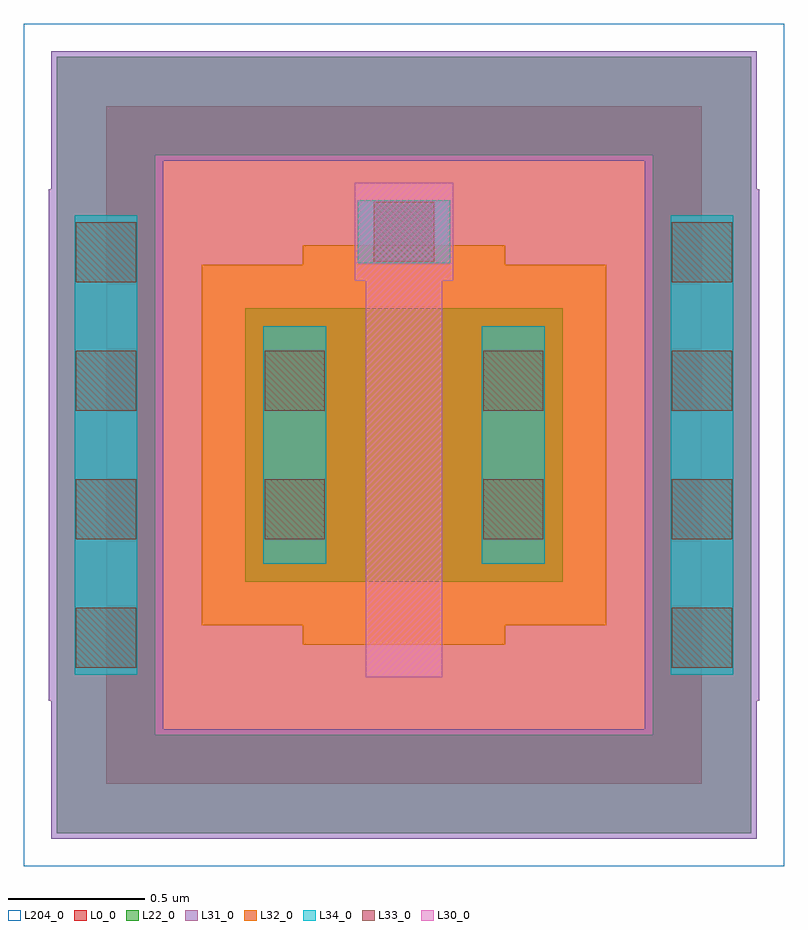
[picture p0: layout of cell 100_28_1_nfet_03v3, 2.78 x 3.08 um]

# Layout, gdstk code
import gdstk
lib = gdstk.Library(unit=1e-6, precision=1e-09)
def R(c, l, rs):  # rectangles x0, y0, x1, y1
    for r in rs: c.add(gdstk.rectangle(r[:2], r[2:], *l))
def A(c, l, x, y, w, h, nx, ny, dx, dy):  # array of equal rectangles
    R(c, l, [(x+i*dx, y+j*dy, x+i*dx+w, y+j*dy+h) for i in range(nx) for j in range(ny)])
L0_0 = (0, 0)
L22_0 = (22, 0)
L30_0 = (30, 0)
L31_0 = (31, 0)
L32_0 = (32, 0)
L33_0 = (33, 0)
L34_0 = (34, 0)
L204_0 = (204, 0)

c_100_28_1_nfet_03v3 = lib.new_cell('100_28_1_nfet_03v3')
R(c_100_28_1_nfet_03v3, L0_0, [(-1.09,-1.24,1.09,1.24)])
R(c_100_28_1_nfet_03v3, L22_0, [(-1.27,-1.42,1.27,-1.06), (-1.27,-1.06,-0.91,1.06), (0.91,-1.06,1.27,1.06), (-0.58,-0.5,0.58,0.5), (-1.27,1.06,1.27,1.42)])
R(c_100_28_1_nfet_03v3, L30_0, [(-0.14,-0.85,0.14,0.6), (-0.18,0.6,0.18,0.96)])
R(c_100_28_1_nfet_03v3, L31_0, [(-1.29,-1.44,1.29,-1.04), (-1.29,-1.04,-0.88,-0.935), (0.88,-1.04,1.29,-0.935), (-1.3,-0.935,-0.88,0.935), (0.88,-0.935,1.3,0.935), (-1.29,0.935,-0.88,1.04), (0.88,0.935,1.29,1.04), (-1.29,1.04,1.29,1.44)])
R(c_100_28_1_nfet_03v3, L32_0, [(-0.37,-0.73,0.37,-0.66), (-0.74,-0.66,0.74,0.66), (-0.37,0.66,0.37,0.73)])
A(c_100_28_1_nfet_03v3, L33_0, -1.2, -0.815, 0.22, 0.22, 1, 4, 0, 0.47)
A(c_100_28_1_nfet_03v3, L33_0, 0.98, -0.815, 0.22, 0.22, 1, 4, 0, 0.47)
R(c_100_28_1_nfet_03v3, L33_0, [(-0.51,-0.345,-0.29,-0.125), (0.29,-0.345,0.51,-0.125), (-0.51,0.125,-0.29,0.345), (0.29,0.125,0.51,0.345), (-0.11,0.67,0.11,0.89)])
R(c_100_28_1_nfet_03v3, L34_0, [(-1.205,-0.84,-0.975,0.84), (0.975,-0.84,1.205,0.84), (-0.515,-0.435,-0.285,0.435), (0.285,-0.435,0.515,0.435), (-0.17,0.665,0.17,0.895)])
R(c_100_28_1_nfet_03v3, L204_0, [(-1.39,-1.54,1.39,1.54)])

lib.write_gds('100_28_1_nfet_03v3.gds')
